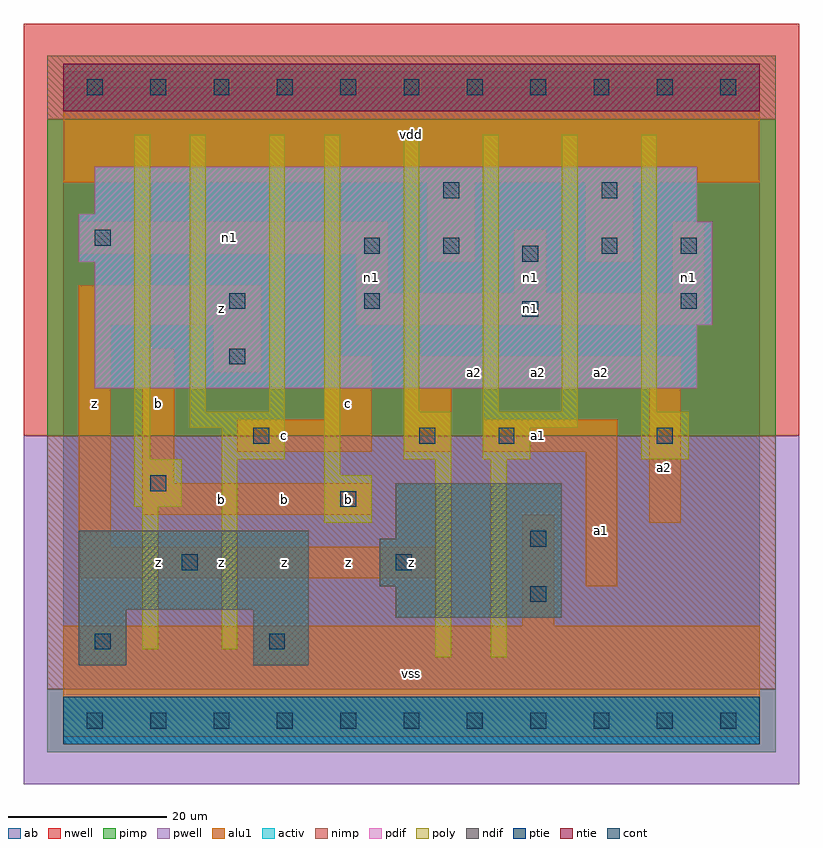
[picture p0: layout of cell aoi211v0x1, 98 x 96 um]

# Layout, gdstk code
import gdstk
lib = gdstk.Library(unit=1e-6, precision=1e-09)
def R(c, l, rs):  # rectangles x0, y0, x1, y1
    for r in rs: c.add(gdstk.rectangle(r[:2], r[2:], *l))
def A(c, l, x, y, w, h, nx, ny, dx, dy):  # array of equal rectangles
    R(c, l, [(x+i*dx, y+j*dy, x+i*dx+w, y+j*dy+h) for i in range(nx) for j in range(ny)])
ndif = (3, 0)
pdif = (4, 0)
ntie = (5, 0)
ptie = (6, 0)
cont = (25, 0)
pwell = (41, 0)
nwell = (42, 0)
activ = (43, 0)
pimp = (44, 0)
nimp = (45, 0)
poly = (46, 0)
alu1 = (49, 0)
ab = (63, 0)

aoi211v0x1 = lib.new_cell('aoi211v0x1')
R(aoi211v0x1, ndif, [(2,7,8,14), (24,7,31,14), (42,13,63,17), (2,14,31,24), (40,17,63,23), (42,23,63,30)])
R(aoi211v0x1, pdif, [(4,42,80,50), (4,50,82,58), (2,58,82,63), (2,63,80,64), (4,64,80,70)])
R(aoi211v0x1, ntie, [(0,77,88,83)])
R(aoi211v0x1, ptie, [(0,-3,88,3)])
A(aoi211v0x1, cont, 3, -1, 2, 2, 11, 2, 8, 80)
R(aoi211v0x1, cont, [(4,9,6,11), (26,9,28,11), (59,15,61,17), (15,19,17,21), (42,19,44,21), (59,22,61,24), (35,27,37,29), (11,29,13,31), (24,35,26,37), (45,35,47,37), (55,35,57,37), (75,35,77,37), (21,45,23,47), (58,51,60,53), (21,52,23,54), (38,52,40,54), (78,52,80,54), (58,58,60,60), (38,59,40,61), (48,59,50,61), (68,59,70,61), (78,59,80,61), (4,60,6,62), (48,66,50,68), (68,66,70,68)])
R(aoi211v0x1, pwell, [(-5,-8,93,36)])
R(aoi211v0x1, nwell, [(-5,36,93,88)])
R(aoi211v0x1, activ, [(0,-3,88,3), (2,7,8,14), (24,7,31,14), (42,13,63,17), (2,14,31,24), (40,17,63,23), (42,23,63,30), (4,42,80,50), (4,50,82,58), (2,58,82,63), (2,63,80,64), (4,64,80,70), (0,77,88,83)])
R(aoi211v0x1, pimp, [(-2,-4,90,4), (-2,36,90,76)])
R(aoi211v0x1, nimp, [(-2,4,90,36), (-2,76,90,84)])
A(aoi211v0x1, poly, 43, 39, 2, 35, 4, 1, 10, 0)
R(aoi211v0x1, poly, [(47,8,49,33), (54,8,56,33), (10,9,12,27), (20,9,22,33), (33,25,39,31), (9,27,15,33), (33,31,35,74), (9,33,11,74), (20,33,28,37), (43,33,49,39), (53,33,59,37), (73,33,79,39), (16,37,28,39), (53,37,65,39), (16,39,18,74), (26,39,28,74)])
R(aoi211v0x1, alu1, [(0,-2,88,12), (58,12,62,26), (66,17,70,34), (2,18,47,22), (2,22,6,50), (74,25,78,42), (10,26,39,30), (10,30,14,47), (22,34,39,38), (43,34,49,42), (53,34,70,38), (33,38,39,46), (43,42,78,46), (19,44,25,50), (2,50,25,55), (37,50,81,54), (37,54,41,59), (57,54,61,62), (77,54,81,63), (46,58,52,68), (66,58,72,68), (2,59,41,63), (0,68,88,82)])
R(aoi211v0x1, ab, [(0,0,88,80)])
aoi211v0x1.add(gdstk.Label('n1', (39,56), layer=49, texttype=0))
aoi211v0x1.add(gdstk.Label('n1', (21,61), layer=49, texttype=0))
aoi211v0x1.add(gdstk.Label('n1', (59,56), layer=49, texttype=0))
aoi211v0x1.add(gdstk.Label('n1', (59,52), layer=49, texttype=0))
aoi211v0x1.add(gdstk.Label('n1', (79,56), layer=49, texttype=0))
aoi211v0x1.add(gdstk.Label('z', (12,20), layer=49, texttype=0))
aoi211v0x1.add(gdstk.Label('b', (12,40), layer=49, texttype=0))
aoi211v0x1.add(gdstk.Label('z', (4,40), layer=49, texttype=0))
aoi211v0x1.add(gdstk.Label('z', (28,20), layer=49, texttype=0))
aoi211v0x1.add(gdstk.Label('z', (36,20), layer=49, texttype=0))
aoi211v0x1.add(gdstk.Label('z', (20,20), layer=49, texttype=0))
aoi211v0x1.add(gdstk.Label('b', (20,28), layer=49, texttype=0))
aoi211v0x1.add(gdstk.Label('b', (36,28), layer=49, texttype=0))
aoi211v0x1.add(gdstk.Label('c', (28,36), layer=49, texttype=0))
aoi211v0x1.add(gdstk.Label('b', (28,28), layer=49, texttype=0))
aoi211v0x1.add(gdstk.Label('c', (36,40), layer=49, texttype=0))
aoi211v0x1.add(gdstk.Label('z', (20,52), layer=49, texttype=0))
aoi211v0x1.add(gdstk.Label('vss', (44,6), layer=49, texttype=0))
aoi211v0x1.add(gdstk.Label('z', (44,20), layer=49, texttype=0))
aoi211v0x1.add(gdstk.Label('a1', (60,36), layer=49, texttype=0))
aoi211v0x1.add(gdstk.Label('a2', (52,44), layer=49, texttype=0))
aoi211v0x1.add(gdstk.Label('a2', (60,44), layer=49, texttype=0))
aoi211v0x1.add(gdstk.Label('vdd', (44,74), layer=49, texttype=0))
aoi211v0x1.add(gdstk.Label('a1', (68,24), layer=49, texttype=0))
aoi211v0x1.add(gdstk.Label('a2', (76,32), layer=49, texttype=0))
aoi211v0x1.add(gdstk.Label('a2', (68,44), layer=49, texttype=0))

lib.write_gds('aoi211v0x1.gds')
